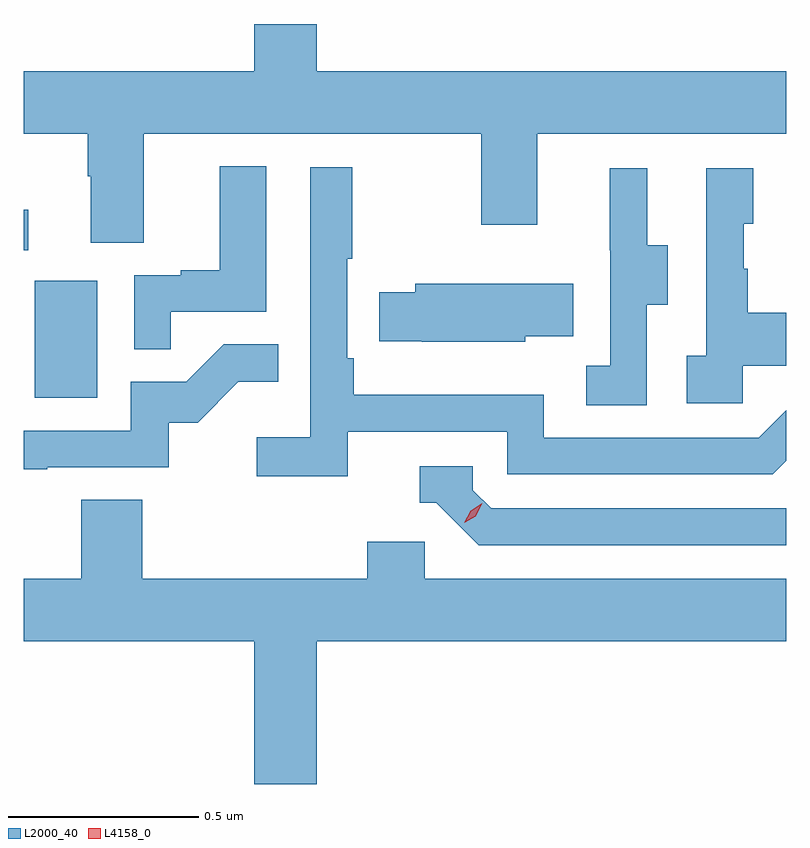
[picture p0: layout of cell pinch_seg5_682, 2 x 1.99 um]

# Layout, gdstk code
import gdstk
lib = gdstk.Library(unit=1e-6, precision=1e-09)
def R(c, l, rs):  # rectangles x0, y0, x1, y1
    for r in rs: c.add(gdstk.rectangle(r[:2], r[2:], *l))
def P(c, l, *ps):  # polygons
    for p in ps: c.add(gdstk.Polygon(p, *l))
L2000_40 = (2000, 40)
L4158_0 = (4158, 0)

pinch_seg5_682 = lib.new_cell('pinch_seg5_682')
R(pinch_seg5_682, L2000_40, [(1015.58,837.42,1015.744,837.727), (1015.552,837.807,1015.564,837.913)])
P(pinch_seg5_682, L2000_40, [(1015.867,838.112),(1016.752,838.112),(1016.752,837.873),(1016.899,837.873),(1016.899,838.112),(1017.552,838.112),(1017.552,838.276),(1016.32,838.276),(1016.32,838.4),(1016.156,838.4),(1016.156,838.276),(1015.552,838.276),(1015.552,838.112),(1015.72,838.112),(1015.72,838),(1015.727,838),(1015.727,837.826),(1015.867,837.826)],
  [(1015.937,837.645),(1016.188,837.645),(1016.188,838.027),(1016.066,838.027),(1016.066,837.754),(1015.963,837.754),(1015.963,837.741),(1015.842,837.741),(1015.842,837.547),(1015.937,837.547)],
  [(1016.402,837.33),(1016.82,837.33),(1016.82,837.219),(1017.517,837.219),(1017.552,837.254),(1017.552,837.387),(1017.48,837.315),(1016.916,837.315),(1016.916,837.427),(1016.417,837.427),(1016.417,837.523),(1016.4,837.523),(1016.4,837.784),(1016.413,837.784),(1016.413,838.024),(1016.304,838.024),(1016.304,837.316),(1016.163,837.316),(1016.163,837.214),(1016.402,837.214)],
  [(1017.438,837.503),(1017.552,837.503),(1017.552,837.643),(1017.451,837.643),(1017.451,837.758),(1017.441,837.758),(1017.441,837.876),(1017.466,837.876),(1017.466,838.021),(1017.342,838.021),(1017.342,837.53),(1017.291,837.53),(1017.291,837.405),(1017.438,837.405)],
  [(1017.186,837.664),(1017.241,837.664),(1017.241,837.819),(1017.187,837.819),(1017.187,838.021),(1017.089,838.021),(1017.089,837.807),(1017.09,837.807),(1017.09,837.503),(1017.027,837.503),(1017.027,837.4),(1017.186,837.4)],
  [(1016.868,837.581),(1016.993,837.581),(1016.993,837.718),(1016.579,837.718),(1016.579,837.696),(1016.485,837.696),(1016.485,837.567),(1016.596,837.567),(1016.596,837.566),(1016.868,837.566)],
  [(1015.613,837.237),(1015.932,837.237),(1015.932,837.354),(1016.008,837.354),(1016.115,837.461),(1016.219,837.461),(1016.219,837.56),(1016.076,837.56),(1015.978,837.462),(1015.833,837.462),(1015.833,837.333),(1015.552,837.333),(1015.552,837.232),(1015.613,837.232)],
  [(1017.552,837.129),(1016.778,837.129),(1016.73,837.177),(1016.73,837.24),(1016.591,837.24),(1016.591,837.144),(1016.634,837.144),(1016.745,837.033),(1017.552,837.033)],
  [(1016.32,836.78),(1017.552,836.78),(1017.552,836.944),(1016.604,836.944),(1016.604,837.042),(1016.453,837.042),(1016.453,836.944),(1015.862,836.944),(1015.862,837.152),(1015.702,837.152),(1015.702,836.944),(1015.552,836.944),(1015.552,836.78),(1016.156,836.78),(1016.156,836.406),(1016.32,836.406)])
P(pinch_seg5_682, L4158_0, [(1016.707,837.091),(1016.707,837.091),(1016.724,837.123),(1016.755,837.142),(1016.755,837.142),(1016.755,837.142),(1016.738,837.109),(1016.707,837.091)])

lib.write_gds('pinch_seg5_682.gds')
